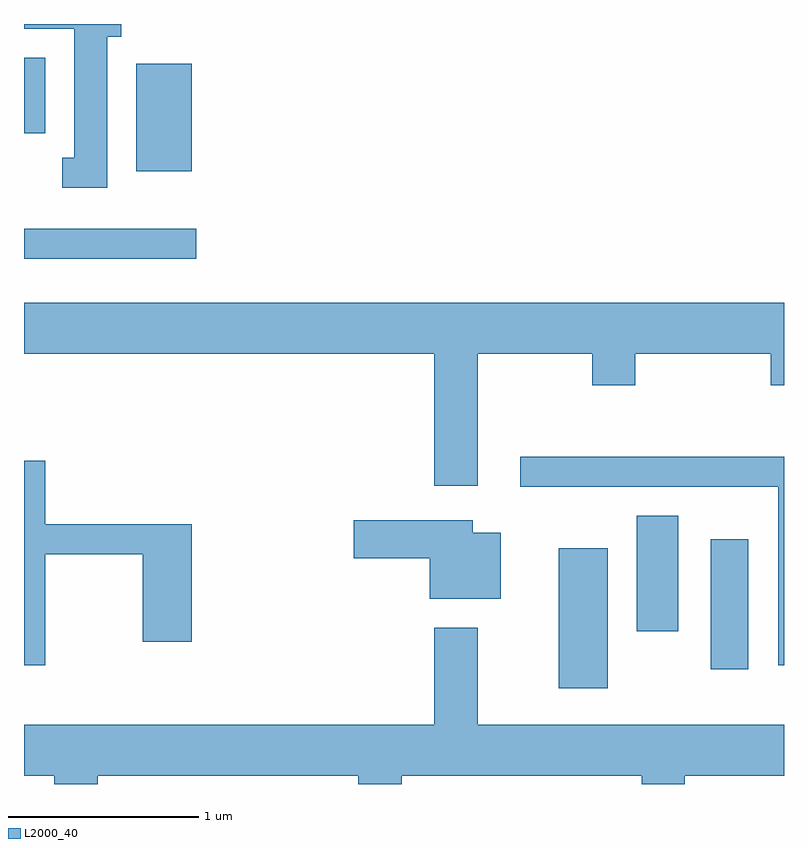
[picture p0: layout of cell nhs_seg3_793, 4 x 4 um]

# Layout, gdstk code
import gdstk
lib = gdstk.Library(unit=1e-6, precision=1e-09)
def R(c, l, rs):  # rectangles x0, y0, x1, y1
    for r in rs: c.add(gdstk.rectangle(r[:2], r[2:], *l))
def P(c, l, *ps):  # polygons
    for p in ps: c.add(gdstk.Polygon(p, *l))
L2000_40 = (2000, 40)

nhs_seg3_793 = lib.new_cell('nhs_seg3_793')
R(nhs_seg3_793, L2000_40, [(210.426,1206.396,210.684,1207.134), (211.226,1206.496,211.424,1207.179), (210.836,1206.696,211.054,1207.304), (207.611,1208.656,208.518,1208.814), (208.201,1209.116,208.494,1209.684), (207.611,1209.316,207.724,1209.714)])
P(nhs_seg3_793, L2000_40, [(208.049,1209.826),(208.124,1209.826),(208.124,1209.892),(207.611,1209.892),(207.611,1209.866),(207.876,1209.866),(207.876,1209.189),(207.813,1209.189),(207.813,1209.031),(208.049,1209.031)],
  [(209.999,1208.156),(210.601,1208.156),(210.601,1207.991),(210.829,1207.991),(210.829,1208.156),(211.541,1208.156),(211.541,1207.991),(211.611,1207.991),(211.611,1208.424),(207.611,1208.424),(207.611,1208.156),(209.771,1208.156),(209.771,1207.461),(209.999,1207.461)],
  [(211.611,1207.614),(210.223,1207.614),(210.223,1207.456),(211.581,1207.456),(211.581,1206.518),(211.611,1206.518)],
  [(207.724,1207.101),(208.236,1207.101),(208.236,1206.641),(208.494,1206.641),(208.494,1207.259),(207.724,1207.259),(207.724,1207.594),(207.611,1207.594),(207.611,1206.516),(207.724,1206.516)],
  [(210.119,1207.214),(209.974,1207.214),(209.974,1207.279),(209.346,1207.279),(209.346,1207.081),(209.746,1207.081),(209.746,1206.866),(210.119,1206.866)],
  [(207.999,1205.936),(209.371,1205.936),(209.371,1205.892),(209.599,1205.892),(209.599,1205.936),(210.861,1205.936),(210.861,1205.892),(211.089,1205.892),(211.089,1205.936),(211.611,1205.936),(211.611,1206.204),(209.999,1206.204),(209.999,1206.714),(209.771,1206.714),(209.771,1206.204),(207.611,1206.204),(207.611,1205.936),(207.771,1205.936),(207.771,1205.892),(207.999,1205.892)])

lib.write_gds('nhs_seg3_793.gds')
